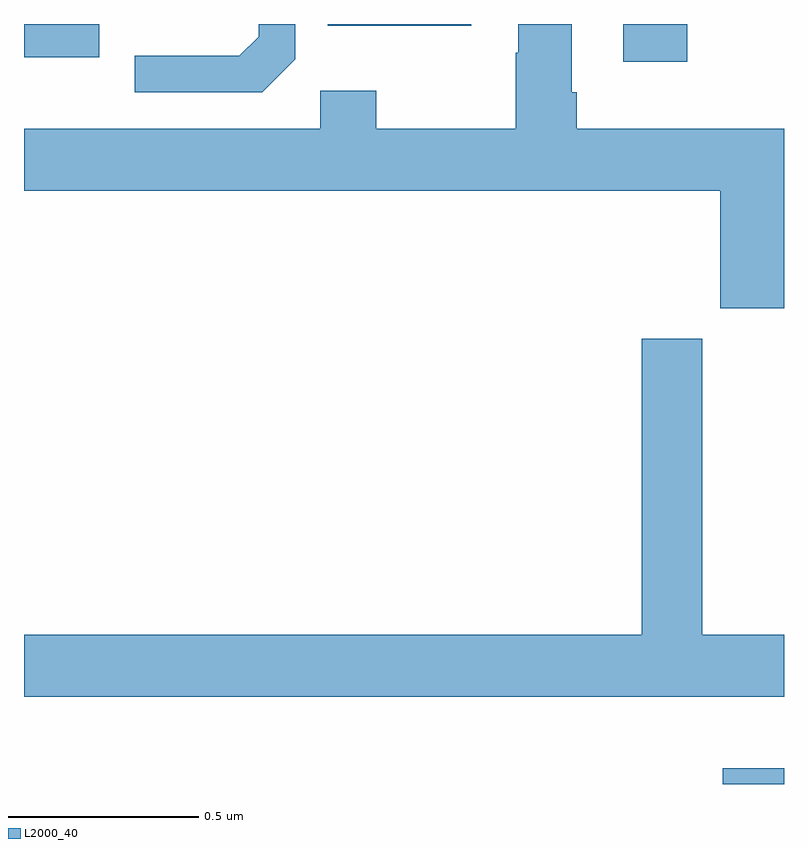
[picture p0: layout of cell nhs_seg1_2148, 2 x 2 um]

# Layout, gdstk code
import gdstk
lib = gdstk.Library(unit=1e-6, precision=1e-09)
def R(c, l, rs):  # rectangles x0, y0, x1, y1
    for r in rs: c.add(gdstk.rectangle(r[:2], r[2:], *l))
def P(c, l, *ps):  # polygons
    for p in ps: c.add(gdstk.Polygon(p, *l))
L2000_40 = (2000, 40)

nhs_seg1_2148 = lib.new_cell('nhs_seg1_2148')
R(nhs_seg1_2148, L2000_40, [(139.839,522.199,140,522.24), (139.577,524.1,139.745,524.199), (138,524.112,138.198,524.199), (138.799,524.195,139.177,524.199)])
P(nhs_seg1_2148, L2000_40, [(140,523.924),(139.454,523.924),(139.454,524.02),(139.441,524.02),(139.441,524.199),(139.301,524.199),(139.301,524.123),(139.294,524.123),(139.294,523.924),(138.927,523.924),(138.927,524.023),(138.78,524.023),(138.78,523.924),(138,523.924),(138,523.76),(139.832,523.76),(139.832,523.451),(140,523.451)],
  [(138.714,524.106),(138.714,524.199),(138.618,524.199),(138.618,524.166),(138.567,524.115),(138.291,524.115),(138.291,524.019),(138.627,524.019)],
  [(140,522.592),(139.785,522.592),(139.785,523.371),(139.625,523.371),(139.625,522.592),(138,522.592),(138,522.428),(140,522.428)])

lib.write_gds('nhs_seg1_2148.gds')
